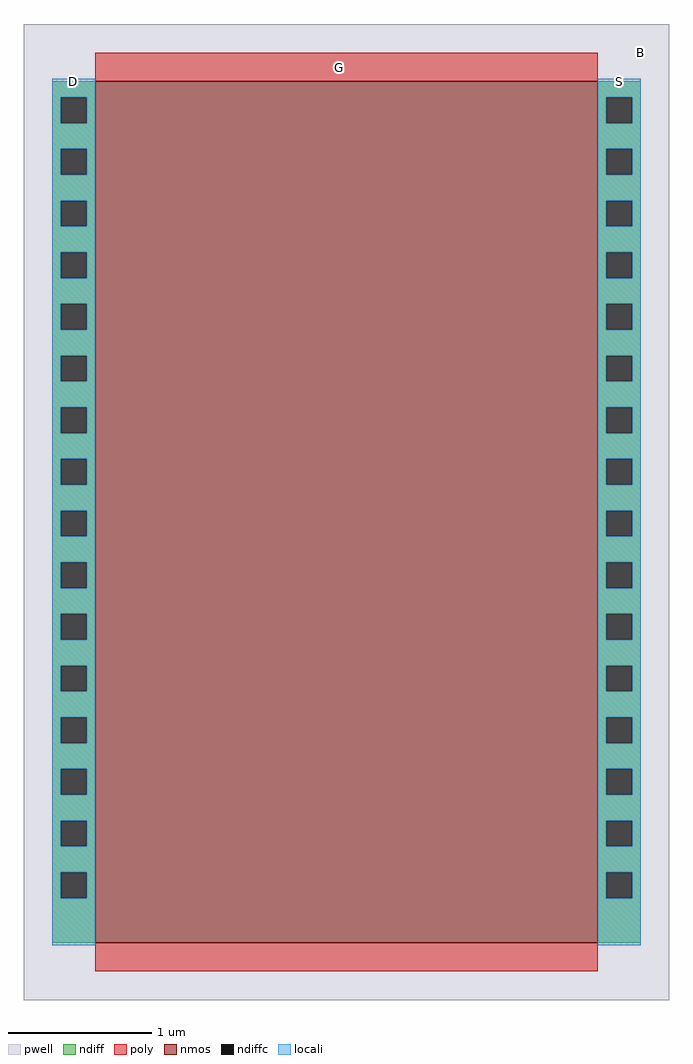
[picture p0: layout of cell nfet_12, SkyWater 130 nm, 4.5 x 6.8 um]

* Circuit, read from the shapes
.subckt nfet_12 B D G S
XM1 S G D B sky130_fd_pr__nfet_01v8 w=6 l=3.5
.ends

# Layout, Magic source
magic
tech sky130A
<< pwell >>
rect 50 -140 500 540
<< nmos >>
rect 100 -100 450 500
<< ndiff >>
rect 70 489 100 500
rect 70 471 76 489
rect 94 471 100 489
rect 70 453 100 471
rect 70 435 76 453
rect 94 435 100 453
rect 70 417 100 435
rect 70 399 76 417
rect 94 399 100 417
rect 70 381 100 399
rect 70 363 76 381
rect 94 363 100 381
rect 70 345 100 363
rect 70 327 76 345
rect 94 327 100 345
rect 70 309 100 327
rect 70 291 76 309
rect 94 291 100 309
rect 70 273 100 291
rect 70 255 76 273
rect 94 255 100 273
rect 70 237 100 255
rect 70 219 76 237
rect 94 219 100 237
rect 70 201 100 219
rect 70 183 76 201
rect 94 183 100 201
rect 70 165 100 183
rect 70 147 76 165
rect 94 147 100 165
rect 70 129 100 147
rect 70 111 76 129
rect 94 111 100 129
rect 70 93 100 111
rect 70 75 76 93
rect 94 75 100 93
rect 70 57 100 75
rect 70 39 76 57
rect 94 39 100 57
rect 70 21 100 39
rect 70 3 76 21
rect 94 3 100 21
rect 70 -15 100 3
rect 70 -33 76 -15
rect 94 -33 100 -15
rect 70 -51 100 -33
rect 70 -69 76 -51
rect 94 -69 100 -51
rect 70 -100 100 -69
rect 450 489 480 500
rect 450 471 456 489
rect 474 471 480 489
rect 450 453 480 471
rect 450 435 456 453
rect 474 435 480 453
rect 450 417 480 435
rect 450 399 456 417
rect 474 399 480 417
rect 450 381 480 399
rect 450 363 456 381
rect 474 363 480 381
rect 450 345 480 363
rect 450 327 456 345
rect 474 327 480 345
rect 450 309 480 327
rect 450 291 456 309
rect 474 291 480 309
rect 450 273 480 291
rect 450 255 456 273
rect 474 255 480 273
rect 450 237 480 255
rect 450 219 456 237
rect 474 219 480 237
rect 450 201 480 219
rect 450 183 456 201
rect 474 183 480 201
rect 450 165 480 183
rect 450 147 456 165
rect 474 147 480 165
rect 450 129 480 147
rect 450 111 456 129
rect 474 111 480 129
rect 450 93 480 111
rect 450 75 456 93
rect 474 75 480 93
rect 450 57 480 75
rect 450 39 456 57
rect 474 39 480 57
rect 450 21 480 39
rect 450 3 456 21
rect 474 3 480 21
rect 450 -15 480 3
rect 450 -33 456 -15
rect 474 -33 480 -15
rect 450 -51 480 -33
rect 450 -69 456 -51
rect 474 -69 480 -51
rect 450 -100 480 -69
<< ndiffc >>
rect 76 471 94 489
rect 76 435 94 453
rect 76 399 94 417
rect 76 363 94 381
rect 76 327 94 345
rect 76 291 94 309
rect 76 255 94 273
rect 76 219 94 237
rect 76 183 94 201
rect 76 147 94 165
rect 76 111 94 129
rect 76 75 94 93
rect 76 39 94 57
rect 76 3 94 21
rect 76 -33 94 -15
rect 76 -69 94 -51
rect 456 471 474 489
rect 456 435 474 453
rect 456 399 474 417
rect 456 363 474 381
rect 456 327 474 345
rect 456 291 474 309
rect 456 255 474 273
rect 456 219 474 237
rect 456 183 474 201
rect 456 147 474 165
rect 456 111 474 129
rect 456 75 474 93
rect 456 39 474 57
rect 456 3 474 21
rect 456 -33 474 -15
rect 456 -69 474 -51
<< poly >>
rect 100 500 450 520
rect 100 -120 450 -100
<< locali >>
rect 70 489 100 502
rect 70 471 76 489
rect 94 471 100 489
rect 70 453 100 471
rect 70 435 76 453
rect 94 435 100 453
rect 70 417 100 435
rect 70 399 76 417
rect 94 399 100 417
rect 70 381 100 399
rect 70 363 76 381
rect 94 363 100 381
rect 70 345 100 363
rect 70 327 76 345
rect 94 327 100 345
rect 70 309 100 327
rect 70 291 76 309
rect 94 291 100 309
rect 70 273 100 291
rect 70 255 76 273
rect 94 255 100 273
rect 70 237 100 255
rect 70 219 76 237
rect 94 219 100 237
rect 70 201 100 219
rect 70 183 76 201
rect 94 183 100 201
rect 70 165 100 183
rect 70 147 76 165
rect 94 147 100 165
rect 70 129 100 147
rect 70 111 76 129
rect 94 111 100 129
rect 70 93 100 111
rect 70 75 76 93
rect 94 75 100 93
rect 70 57 100 75
rect 70 39 76 57
rect 94 39 100 57
rect 70 21 100 39
rect 70 3 76 21
rect 94 3 100 21
rect 70 -15 100 3
rect 70 -33 76 -15
rect 94 -33 100 -15
rect 70 -51 100 -33
rect 70 -69 76 -51
rect 94 -69 100 -51
rect 70 -102 100 -69
rect 450 489 480 502
rect 450 471 456 489
rect 474 471 480 489
rect 450 453 480 471
rect 450 435 456 453
rect 474 435 480 453
rect 450 417 480 435
rect 450 399 456 417
rect 474 399 480 417
rect 450 381 480 399
rect 450 363 456 381
rect 474 363 480 381
rect 450 345 480 363
rect 450 327 456 345
rect 474 327 480 345
rect 450 309 480 327
rect 450 291 456 309
rect 474 291 480 309
rect 450 273 480 291
rect 450 255 456 273
rect 474 255 480 273
rect 450 237 480 255
rect 450 219 456 237
rect 474 219 480 237
rect 450 201 480 219
rect 450 183 456 201
rect 474 183 480 201
rect 450 165 480 183
rect 450 147 456 165
rect 474 147 480 165
rect 450 129 480 147
rect 450 111 456 129
rect 474 111 480 129
rect 450 93 480 111
rect 450 75 456 93
rect 474 75 480 93
rect 450 57 480 75
rect 450 39 456 57
rect 474 39 480 57
rect 450 21 480 39
rect 450 3 456 21
rect 474 3 480 21
rect 450 -15 480 3
rect 450 -33 456 -15
rect 474 -33 480 -15
rect 450 -51 480 -33
rect 450 -69 456 -51
rect 474 -69 480 -51
rect 450 -102 480 -69
<< labels >>
rlabel locali 85 500 85 500 1 D
rlabel locali 465 500 465 500 1 S
rlabel pwell 480 520 480 520 1 B
rlabel poly 270 510 270 510 1 G
<< end >>
